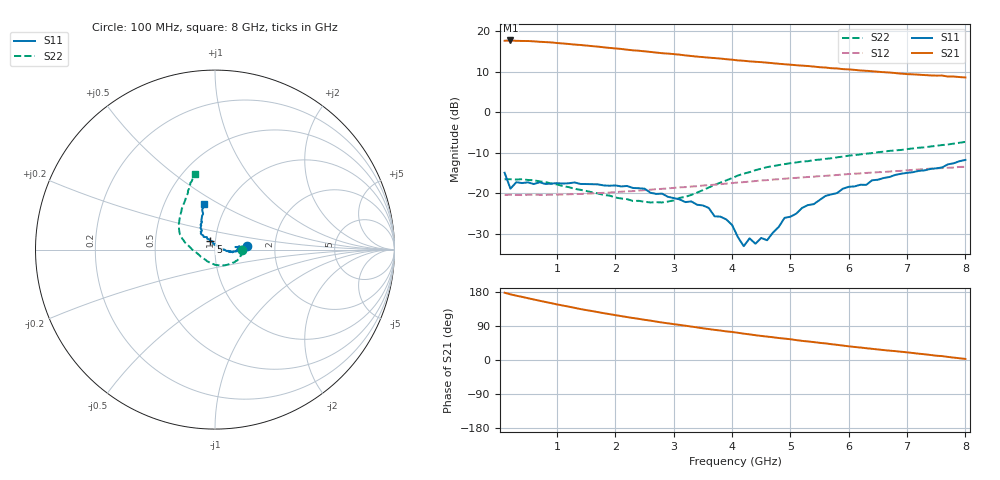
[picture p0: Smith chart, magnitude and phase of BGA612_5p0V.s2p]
!  INFINEON TECHNOLOGIES Silicon Discrete Components
!  BGA612
!  Vcc=5.0V, Rbias=135Ohm, I=20mA
!  Date:  27 Jun 2001
#  GHz  S  MA  R  50
! f  S11  S21  S12  S22
! GHz  Mag  Ang  Mag  Ang  Mag  Ang  Mag  Ang
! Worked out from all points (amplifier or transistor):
!   80 points, 100 MHz to 8 GHz, reference 50 ohm
!   highest |S21| = 17.8 dB at 200 MHz (marker M1)
!   |S21| within 3 dB of that: start of sweep to 2.709 GHz
!   unconditionally stable (mu >= 1): start of sweep to end of sweep
!   at 1.4 GHz: K = 1.07, MAG = 16.7 dB, |S12| = -20.1 dB
!   at 4.1 GHz: K = 1.11, MAG = 13.0 dB, |S12| = -17.3 dB
!   at 8 GHz: K = 1.04, MAG = 9.9 dB, |S12| = -13.4 dB
!   S11 on the Smith chart (normalised r, x): 100 MHz: 1.44, +0.05; 5 GHz: 0.95, +0.09; 8 GHz: 0.78, +0.42
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0.1  0.1803 5.5  7.654 177.5  0.096 0.0  0.1497 -1.2
0.2  0.1146 7.3  7.719 173.3  0.0964 1.1  0.1499 -4.6
0.5  0.1372 3.5  7.595 163.1  0.0964 2.2  0.1468 -13.8
0.9  0.1325 5.5  7.301 150.0  0.0966 4.5  0.1325 -28.6
1.2  0.1337 3.8  6.98 140.8  0.0978 6.4  0.1198 -40.2
1.5  0.1308 4.9  6.681 131.7  0.0997 7.2  0.1075 -52.4
1.7  0.1296 3.5  6.477 126.3  0.1012 8.4  0.1002 -61.3
2.1  0.1222 -2.0  6.063 115.8  0.1052 9.8  0.0867 -82.9
2.5  0.1147 -5.9  5.671 106.1  0.1099 11.2  0.079 -109.6
2.8  0.0996 -8.7  5.378 98.9  0.1141 11.9  0.0775 -131.6
3.5  0.0712 -7.1  4.809 83.7  0.1254 12.1  0.11 -173.6
3.9  0.0479 -1.8  4.533 75.5  0.1324 11.8  0.1449 172.9
4.1  0.0289 8.9  4.382 71.9  0.1365 11.2  0.1665 167.9
4.2  0.0224 22.8  4.335 69.5  0.1381 10.8  0.1758 165.6
4.3  0.028 44.8  4.262 67.7  0.1402 10.4  0.1834 163.3
4.6  0.0265 98.0  4.108 61.7  0.1461 9.7  0.2116 156.8
5  0.0517 119.1  3.877 54.8  0.1543 8.7  0.2362 148.2
5.4  0.0739 125.5  3.679 47.3  0.1613 6.9  0.2581 140.2
6  0.1209 131.0  3.394 36.2  0.1737 3.3  0.2929 129.2
6.7  0.1599 120.5  3.102 24.6  0.1865 -0.5  0.3353 118.7
7.6  0.2094 108.4  2.849 10.3  0.2055 -6.5  0.396 110.2
8  0.2594 104.3  2.7 2.8  0.2132 -10.7  0.433 104.6
